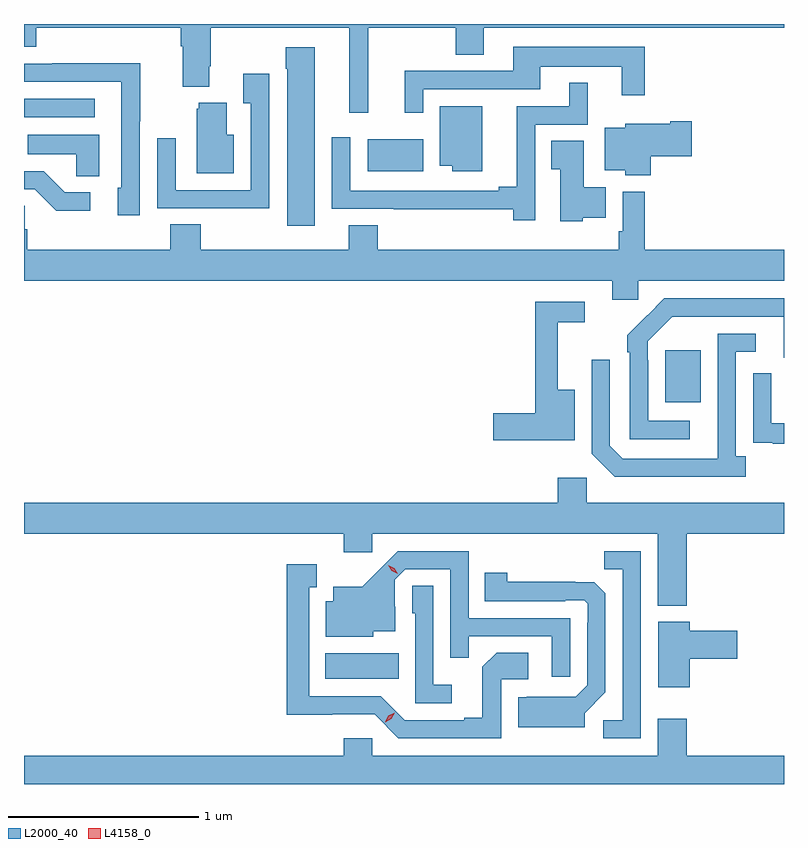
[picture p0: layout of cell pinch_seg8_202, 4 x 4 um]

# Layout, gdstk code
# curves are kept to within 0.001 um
import gdstk
lib = gdstk.Library(unit=1e-6, precision=1e-09)
def R(c, l, rs):  # rectangles x0, y0, x1, y1
    for r in rs: c.add(gdstk.rectangle(r[:2], r[2:], *l))
def P(c, l, *ps):  # polygons
    for p in ps: c.add(gdstk.Polygon(p, *l))
L2000_40 = (2000, 40)
L4158_0 = (4158, 0)

pinch_seg8_202 = lib.new_cell('pinch_seg8_202')
R(pinch_seg8_202, L2000_40, [(622.883,1155.698,623.27,1155.832), (624.671,1157.153,624.859,1157.428), (623.105,1158.368,623.398,1158.538), (621.297,1158.654,621.67,1158.75)])
P(pinch_seg8_202, L2000_40, [(625.297,1159.144),(621.297,1159.144),(621.297,1159.025),(621.362,1159.025),(621.362,1159.124),(622.121,1159.124),(622.121,1159.028),(622.133,1159.028),(622.133,1158.815),(622.273,1158.815),(622.273,1158.922),(622.281,1158.922),(622.281,1159.124),(623.009,1159.124),(623.009,1158.678),(623.108,1158.678),(623.108,1159.124),(623.569,1159.124),(623.569,1158.982),(623.716,1158.982),(623.716,1159.124),(625.297,1159.124)],
  [(623.397,1158.801),(624.013,1158.801),(624.013,1158.92),(624.443,1158.92),(624.443,1158.768),(624.565,1158.768),(624.565,1159.024),(623.873,1159.024),(623.873,1158.897),(623.3,1158.897),(623.3,1158.678),(623.397,1158.678)],
  [(622.828,1159.021),(622.675,1159.021),(622.675,1158.908),(622.682,1158.908),(622.682,1158.081),(622.828,1158.081)],
  [(621.906,1158.631),(621.909,1158.631),(621.909,1158.938),(621.445,1158.938),(621.445,1158.936),(621.297,1158.936),(621.297,1158.84),(621.81,1158.84),(621.81,1158.282),(621.791,1158.282),(621.791,1158.138),(621.906,1158.138)],
  [(622.587,1158.883),(622.451,1158.883),(622.451,1158.727),(622.491,1158.727),(622.491,1158.27),(622.095,1158.27),(622.095,1158.544),(621.999,1158.544),(621.999,1158.174),(622.315,1158.174),(622.315,1158.173),(622.587,1158.173)],
  [(623.988,1158.615),(624.265,1158.615),(624.265,1158.835),(624.167,1158.835),(624.167,1158.711),(623.891,1158.711),(623.891,1158.287),(623.795,1158.287),(623.795,1158.267),(623.013,1158.267),(623.013,1158.547),(622.917,1158.547),(622.917,1158.171),(623.242,1158.171),(623.242,1158.17),(623.872,1158.17),(623.872,1158.111),(623.988,1158.111)],
  [(622.402,1158.562),(622.363,1158.562),(622.363,1158.73),(622.217,1158.73),(622.217,1158.699),(622.205,1158.699),(622.205,1158.359),(622.402,1158.359)],
  [(623.71,1158.712),(623.486,1158.712),(623.486,1158.398),(623.552,1158.398),(623.552,1158.368),(623.71,1158.368)],
  [(624.596,1158.449),(624.811,1158.449),(624.811,1158.632),(624.698,1158.632),(624.698,1158.619),(624.462,1158.619),(624.462,1158.598),(624.353,1158.598),(624.353,1158.374),(624.462,1158.374),(624.462,1158.347),(624.596,1158.347)],
  [(621.694,1158.562),(621.316,1158.562),(621.316,1158.458),(621.573,1158.458),(621.573,1158.343),(621.694,1158.343)],
  [(624.237,1158.125),(624.358,1158.125),(624.358,1158.286),(624.244,1158.286),(624.244,1158.53),(624.073,1158.53),(624.073,1158.379),(624.119,1158.379),(624.119,1158.107),(624.237,1158.107)],
  [(621.646,1158.258),(621.511,1158.258),(621.4,1158.369),(621.297,1158.369),(621.297,1158.273),(621.354,1158.273),(621.467,1158.161),(621.646,1158.161)],
  [(624.531,1157.792),(625.297,1157.792),(625.297,1157.956),(624.563,1157.956),(624.563,1158.262),(624.447,1158.262),(624.447,1158.052),(624.427,1158.052),(624.427,1157.956),(623.159,1157.956),(623.159,1158.086),(623.006,1158.086),(623.006,1157.956),(622.227,1157.956),(622.227,1158.089),(622.067,1158.089),(622.067,1157.956),(621.314,1157.956),(621.314,1158.065),(621.3,1158.065),(621.3,1158.188),(621.297,1158.188),(621.297,1157.792),(624.392,1157.792),(624.392,1157.694),(624.531,1157.694)],
  [(624.802,1157.055),(624.582,1157.055),(624.582,1157.375),(624.579,1157.375),(624.579,1157.475),(624.708,1157.604),(625.295,1157.604),(625.295,1157.388),(625.297,1157.388),(625.297,1157.7),(624.668,1157.7),(624.471,1157.505),(624.471,1157.417),(624.486,1157.417),(624.486,1156.959),(624.802,1156.959)],
  [(624.196,1157.218),(624.107,1157.218),(624.107,1157.574),(624.247,1157.574),(624.247,1157.682),(623.989,1157.682),(623.989,1157.096),(623.766,1157.096),(623.766,1156.954),(624.196,1156.954)],
  [(625.096,1156.87),(625.044,1156.87),(625.044,1157.418),(625.147,1157.418),(625.147,1157.514),(624.948,1157.514),(624.947,1156.857),(624.447,1156.857),(624.381,1156.923),(624.381,1157.377),(624.285,1157.377),(624.285,1156.881),(624.406,1156.76),(625.096,1156.76)],
  [(625.297,1157.043),(625.23,1157.043),(625.23,1157.305),(625.134,1157.305),(625.134,1157.05),(625.135,1157.05),(625.135,1156.941),(625.237,1156.941),(625.237,1156.935),(625.297,1156.935)],
  [(624.785,1156.46),(625.297,1156.46),(625.297,1156.624),(624.258,1156.624),(624.258,1156.756),(624.107,1156.756),(624.107,1156.624),(621.297,1156.624),(621.297,1156.46),(622.979,1156.46),(622.979,1156.365),(623.13,1156.365),(623.13,1156.46),(624.632,1156.46),(624.632,1156.082),(624.785,1156.082)],
  [(624.543,1156.368),(624.352,1156.368),(624.352,1156.273),(624.447,1156.273),(624.447,1155.48),(624.345,1155.48),(624.345,1155.384),(624.543,1155.384)],
  [(624.171,1156.017),(623.637,1156.017),(623.637,1156.368),(623.264,1156.368),(623.077,1156.183),(622.925,1156.183),(622.925,1156.105),(622.886,1156.105),(622.886,1155.92),(623.136,1155.92),(623.136,1155.947),(623.251,1155.947),(623.251,1156.076),(623.247,1156.076),(623.247,1156.218),(623.304,1156.275),(623.541,1156.275),(623.541,1155.808),(623.639,1155.808),(623.639,1155.921),(624.075,1155.921),(624.075,1155.708),(624.171,1155.708)],
  [(623.808,1155.696),(623.95,1155.696),(623.95,1155.836),(623.785,1155.836),(623.709,1155.76),(623.709,1155.493),(623.615,1155.493),(623.615,1155.48),(623.301,1155.48),(623.175,1155.606),(622.798,1155.606),(622.798,1156.179),(622.837,1156.179),(622.837,1156.3),(622.68,1156.3),(622.68,1155.509),(623.142,1155.51),(623.268,1155.384),(623.808,1155.384)],
  [(624.247,1155.516),(624.357,1155.626),(624.357,1156.148),(624.298,1156.207),(623.841,1156.208),(623.841,1156.255),(623.722,1156.255),(623.722,1156.107),(624.146,1156.107),(624.146,1156.11),(624.246,1156.11),(624.264,1156.092),(624.264,1155.992),(624.261,1155.992),(624.261,1155.663),(624.201,1155.603),(623.944,1155.604),(623.941,1155.601),(623.897,1155.601),(623.897,1155.443),(624.247,1155.443)],
  [(623.548,1155.667),(623.451,1155.667),(623.451,1156.187),(623.34,1156.187),(623.34,1156.044),(623.355,1156.044),(623.355,1155.57),(623.548,1155.57)],
  [(624.802,1155.803),(625.051,1155.803),(625.051,1155.95),(624.802,1155.95),(624.802,1155.997),(624.635,1155.997),(624.635,1155.654),(624.802,1155.654)],
  [(625.297,1155.292),(624.785,1155.292),(624.785,1155.487),(624.632,1155.487),(624.632,1155.292),(623.13,1155.292),(623.13,1155.385),(622.979,1155.385),(622.979,1155.292),(621.297,1155.292),(621.297,1155.144),(625.297,1155.144)])
P(pinch_seg8_202, L4158_0, [(623.263,1156.251),(623.232,1156.266),(623.215,1156.295),(623.215,1156.295),(623.215,1156.295),(623.246,1156.28),(623.263,1156.251),(623.263,1156.251)],
  [(623.197,1155.469),(623.197,1155.47),(623.215,1155.502),(623.248,1155.52),(623.248,1155.52),(623.248,1155.52),(623.23,1155.488),(623.197,1155.469)])

lib.write_gds('pinch_seg8_202.gds')
